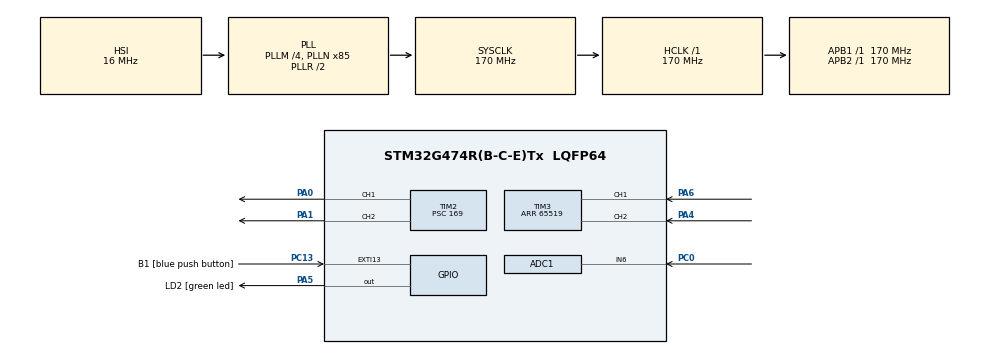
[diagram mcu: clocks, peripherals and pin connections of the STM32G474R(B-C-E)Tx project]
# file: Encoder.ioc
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ADC1.Channel-0\#ChannelRegularConversion=ADC_CHANNEL_6
ADC1.ContinuousConvMode=ENABLE
ADC1.DMAContinuousRequests=ENABLE
ADC1.NbrOfConversionFlag=1
ADC1.OffsetNumber-0\#ChannelRegularConversion=ADC_OFFSET_NONE
ADC1.Rank-0\#ChannelRegularConversion=1
ADC1.SamplingTime-0\#ChannelRegularConversion=ADC_SAMPLETIME_2CYCLES_5
ADC1.master=1
Dma.ADC1.0.Direction=DMA_PERIPH_TO_MEMORY
Dma.ADC1.0.EventEnable=DISABLE
Dma.ADC1.0.Instance=DMA1_Channel1
Dma.ADC1.0.MemDataAlignment=DMA_MDATAALIGN_WORD
Dma.ADC1.0.MemInc=DMA_MINC_ENABLE
Dma.ADC1.0.Mode=DMA_CIRCULAR
Dma.ADC1.0.PeriphDataAlignment=DMA_PDATAALIGN_WORD
Dma.ADC1.0.PeriphInc=DMA_PINC_DISABLE
Dma.ADC1.0.Polarity=HAL_DMAMUX_REQ_GEN_RISING
Dma.ADC1.0.Priority=DMA_PRIORITY_LOW
Dma.ADC1.0.RequestNumber=1
Dma.ADC1.0.SignalID=NONE
Dma.ADC1.0.SyncEnable=DISABLE
Dma.ADC1.0.SyncPolarity=HAL_DMAMUX_SYNC_NO_EVENT
Dma.ADC1.0.SyncRequestNumber=1
Dma.ADC1.0.SyncSignalID=NONE
Dma.Request0=ADC1
Mcu.Family=STM32G4
Mcu.Name=STM32G474R(B-C-E)Tx
Mcu.Package=LQFP64
NVIC.ADC1_2_IRQn=true\:0\:0\:false\:false\:true\:true\:true\:true
NVIC.DMA1_Channel1_IRQn=true\:0\:0\:false\:false\:true\:false\:true\:true
NVIC.EXTI15_10_IRQn=true\:0\:0\:false\:false\:true\:true\:true\:true
NVIC.PriorityGroup=NVIC_PRIORITYGROUP_4
NVIC.TIM6_DAC_IRQn=true\:0\:0\:false\:false\:true\:true\:true\:true
PA0.Signal=S_TIM2_CH1
PA1.Signal=S_TIM2_CH2
PA13.GPIO_Label=T_SWDIO
PA13.Signal=SYS_JTMS-SWDIO
PA14.GPIO_Label=T_SWCLK
PA14.Signal=SYS_JTCK-SWCLK
PA2.GPIO_Label=LPUART1_TX [STLINKV3E_VCP_RX]
PA2.Signal=LPUART1_TX
PA3.GPIO_Label=LPUART1_RX [STLINKV3E_VCP_TX]
PA3.Signal=LPUART1_RX
PA4.Signal=S_TIM3_CH2
PA5.GPIO_Label=LD2 [green led]
PA5.Signal=GPIO_Output
PA6.Signal=S_TIM3_CH1
PB3.GPIO_Label=T_SWO
PB3.Signal=SYS_JTDO-SWO
PC0.Mode=IN6-Single-Ended
PC0.Signal=ADC1_IN6
PC13.GPIO_Label=B1 [blue push button]
PC13.Signal=GPXTI13
PC14-OSC32_IN.GPIO_Label=RCC_OSC32_IN
PC14-OSC32_IN.Signal=RCC_OSC32_IN
PC15-OSC32_OUT.GPIO_Label=RCC_OSC32_OUT
PC15-OSC32_OUT.Signal=RCC_OSC32_OUT
PF0-OSC_IN.GPIO_Label=RCC_OSC_IN
PF0-OSC_IN.Signal=RCC_OSC_IN
PF1-OSC_OUT.GPIO_Label=RCC_OSC_OUT
PF1-OSC_OUT.Signal=RCC_OSC_OUT
ProjectManager.HeapSize=0x200
ProjectManager.StackSize=0x400
ProjectManager.TargetToolchain=STM32CubeIDE
RCC.ADC12Freq_Value=170000000
RCC.ADC345Freq_Value=170000000
RCC.AHBFreq_Value=170000000
RCC.APB1Freq_Value=170000000
RCC.APB1TimFreq_Value=170000000
RCC.APB2Freq_Value=170000000
RCC.APB2TimFreq_Value=170000000
RCC.CortexFreq_Value=170000000
RCC.EXTERNAL_CLOCK_VALUE=12288000
RCC.HCLKFreq_Value=170000000
RCC.HSE_VALUE=24000000
RCC.HSI48_VALUE=48000000
RCC.HSI_VALUE=16000000
RCC.LSE_VALUE=32768
RCC.PLLM=RCC_PLLM_DIV4
RCC.PLLN=85
RCC.RTCClockSelection=RCC_RTCCLKSOURCE_LSE
RCC.SYSCLKFreq_VALUE=170000000
RCC.SYSCLKSource=RCC_SYSCLKSOURCE_PLLCLK
RCC.USBFreq_Value=170000000
RCC.VCOOutputFreq_Value=340000000
SH.S_TIM2_CH1.0=TIM2_CH1,PWM Generation1 CH1
SH.S_TIM2_CH2.0=TIM2_CH2,PWM Generation2 CH2
SH.S_TIM3_CH1.0=TIM3_CH1,Encoder_Interface
SH.S_TIM3_CH2.0=TIM3_CH2,Encoder_Interface
TIM2.Channel-PWM\ Generation1\ CH1=TIM_CHANNEL_1
TIM2.Channel-PWM\ Generation2\ CH2=TIM_CHANNEL_2
TIM2.PeriodNoDither=199
TIM2.Prescaler=169
TIM3.EncoderMode=TIM_ENCODERMODE_TI12
TIM3.PeriodNoDither=65519
TIM6.PeriodNoDither=199
TIM6.Prescaler=169
VP_SYS_VS_DBSignals.Mode=DisableDeadBatterySignals
VP_TIM2_VS_ClockSourceINT.Mode=Internal
VP_TIM5_VS_ClockSourceINT.Mode=Internal
VP_TIM6_VS_ClockSourceINT.Mode=Enable_Timer
board=NUCLEO-G474RE

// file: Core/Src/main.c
/* USER CODE BEGIN Header */
/**
  ******************************************************************************
  * @file           : main.c
  * @brief          : Main program body
  ******************************************************************************
  * @attention
  *
  * Copyright (c) 2026 STMicroelectronics.
  * All rights reserved.
  *
  * This software is licensed under terms that can be found in the LICENSE file
  * in the root directory of this software component.
  * If no LICENSE file comes with this software, it is provided AS-IS.
  *
  ******************************************************************************
  */
/* USER CODE END Header */
#include "main.h"

/* USER CODE BEGIN PD */
#define ONE_TURN_QEI_CNT 840
#define MULTI_TURN_QEI_CNT 65520
#define OBSEVER_PERIOD 0.0002f  //5khz
#define VELO_PID__PERIOD 0.001f
#define POS_PID_PERIOD 0.002f
/* USER CODE END PD */

ADC_HandleTypeDef hadc1;
DMA_HandleTypeDef hdma_adc1;

TIM_HandleTypeDef htim2;
TIM_HandleTypeDef htim3;
TIM_HandleTypeDef htim5;
TIM_HandleTypeDef htim6;

/* USER CODE BEGIN PV */
uint32_t adc_raw = 0;
uint32_t adc_dma[20] = {0};
uint32_t QEIReadRaw;
float angleDegree;
float angleRadian;
float PI = 3.141592;

enum { NEW, OLD };

typedef struct {
    uint32_t Position[2];
    float QEIPostion_1turn;
    float QEIAngularVelocity;
    float QEIAngularVelocity_MWA;
    float QEIAngularVelocity_RPM;
} QEI_StructureTypeDef;
QEI_StructureTypeDef QEIdata = {0};

typedef struct {
    float Realposition;
    float EstVelocity;
    float EstPosition;
    float Kp, Ki;
    float MaxVelocity;
} VeloObserverTypeDef;
VeloObserverTypeDef VeloObserver = {0};

// ===============================================
volatile uint8_t TASK_MODE = 1; // 1 = Position (Cascade), 2 = Velocity

// Velocity (Inner Loop)
volatile float target_rpm = 0.0f; // ถอด volatile ออกไม่ได้ เพราะ SWV อาจจะอยากแก้
float vel_error_integral = 0.0f;
float prev_vel_error = 0.0f;
volatile float Kp_v = 1.5f;
volatile float Ki_v = 10.0f;
volatile float Kd_v = 0.0f;

// Position (Outer Loop)
volatile float target_position_deg = 0.0f;
float current_position_deg = 0.0f;
float pos_error_integral = 0.0f;
float prev_pos_error = 0.0f;
volatile float Kp_p = 3.0f;
volatile float Ki_p = 0.0f;  // Cascade มักใช้แค่ P คุมตำแหน่ง
volatile float Kd_p = 0.0f;

int32_t pwm_out = 0;
uint16_t timer_tick = 0;

/* USER CODE END PV */

void SystemClock_Config(void);
static void MX_GPIO_Init(void);
static void MX_DMA_Init(void);
static void MX_TIM3_Init(void);
static void MX_TIM6_Init(void);
static void MX_TIM5_Init(void);
static void MX_TIM2_Init(void);
static void MX_ADC1_Init(void);
/* USER CODE BEGIN PFP */
uint32_t micros();
void VeloObsever_Init(void);
void VeloObserver_Update(void);
/* USER CODE END PFP */

int main(void)
{

  /* MCU Configuration--------------------------------------------------------*/

  /* Reset of all peripherals, Initializes the Flash interface and the Systick. */
  HAL_Init();

  /* Configure the system clock */
  SystemClock_Config();

  /* Initialize all configured peripherals */
  MX_GPIO_Init();
  MX_DMA_Init();
  MX_TIM3_Init();
  MX_TIM6_Init();
  MX_TIM5_Init();
  MX_TIM2_Init();
  MX_ADC1_Init();
  /* USER CODE BEGIN 2 */
  HAL_TIM_Encoder_Start(&htim3, TIM_CHANNEL_ALL);
  HAL_TIM_Base_Start_IT(&htim5);
  HAL_TIM_Base_Start_IT(&htim6);
  HAL_ADC_Start_DMA(&hadc1, adc_dma, 20);
  VeloObsever_Init();
  HAL_TIM_PWM_Start(&htim2, TIM_CHANNEL_1);
  HAL_TIM_PWM_Start(&htim2, TIM_CHANNEL_2);

  /* USER CODE END 2 */

  /* Infinite loop */
  while (1)
  {

    /* USER CODE BEGIN 3 */
	  QEIReadRaw = __HAL_TIM_GET_COUNTER(&htim3);
	  	        angleDegree = (QEIReadRaw / 840.0f) * 360.0f ;
	  	        angleRadian = (QEIReadRaw / 840.0f) * (2.0f * PI);

	  	        if (HAL_GPIO_ReadPin(B1_GPIO_Port, B1_Pin) == GPIO_PIN_SET)
	  	        {

	                  uint32_t adc_sum = 0;
	                  for (int i = 0; i < 20; i++) {
	                      adc_sum += adc_dma[i];
	                  }
	                  float adc_avg = (float)adc_sum / 20.0f;

	  	            static float filtered_adc = 0.0f;
	  	            const float alpha = 0.05f;
	  	            filtered_adc = (1.0f - alpha) * filtered_adc + (alpha * adc_avg);

	  	            if (TASK_MODE == 1) {
	  	                target_position_deg = (filtered_adc / 4095.0f) * 360.0f;
	  	            }
	  	            else if (TASK_MODE == 2) {
	  	                target_rpm = (filtered_adc / 4095.0f) * 120.0f;
	  	            }
	  	        }

	  	        HAL_Delay(10);
	  	    }
  /* USER CODE END 3 */
}

void SystemClock_Config(void)
{
  RCC_OscInitTypeDef RCC_OscInitStruct = {0};
  RCC_ClkInitTypeDef RCC_ClkInitStruct = {0};

  /** Configure the main internal regulator output voltage
  */
  HAL_PWREx_ControlVoltageScaling(PWR_REGULATOR_VOLTAGE_SCALE1_BOOST);

  /** Initializes the RCC Oscillators according to the specified parameters
  * in the RCC_OscInitTypeDef structure.
  */
  RCC_OscInitStruct.OscillatorType = RCC_OSCILLATORTYPE_HSI;
  RCC_OscInitStruct.HSIState = RCC_HSI_ON;
  RCC_OscInitStruct.HSICalibrationValue = RCC_HSICALIBRATION_DEFAULT;
  RCC_OscInitStruct.PLL.PLLState = RCC_PLL_ON;
  RCC_OscInitStruct.PLL.PLLSource = RCC_PLLSOURCE_HSI;
  RCC_OscInitStruct.PLL.PLLM = RCC_PLLM_DIV4;
  RCC_OscInitStruct.PLL.PLLN = 85;
  RCC_OscInitStruct.PLL.PLLP = RCC_PLLP_DIV2;
  RCC_OscInitStruct.PLL.PLLQ = RCC_PLLQ_DIV2;
  RCC_OscInitStruct.PLL.PLLR = RCC_PLLR_DIV2;
  if (HAL_RCC_OscConfig(&RCC_OscInitStruct) != HAL_OK)
  {
    Error_Handler();
  }

  /** Initializes the CPU, AHB and APB buses clocks
  */
  RCC_ClkInitStruct.ClockType = RCC_CLOCKTYPE_HCLK|RCC_CLOCKTYPE_SYSCLK
                              |RCC_CLOCKTYPE_PCLK1|RCC_CLOCKTYPE_PCLK2;
  RCC_ClkInitStruct.SYSCLKSource = RCC_SYSCLKSOURCE_PLLCLK;
  RCC_ClkInitStruct.AHBCLKDivider = RCC_SYSCLK_DIV1;
  RCC_ClkInitStruct.APB1CLKDivider = RCC_HCLK_DIV1;
  RCC_ClkInitStruct.APB2CLKDivider = RCC_HCLK_DIV1;

  if (HAL_RCC_ClockConfig(&RCC_ClkInitStruct, FLASH_LATENCY_4) != HAL_OK)
  {
    Error_Handler();
  }
}

static void MX_ADC1_Init(void)
{

  ADC_MultiModeTypeDef multimode = {0};
  ADC_ChannelConfTypeDef sConfig = {0};

  /** Common config
  */
  hadc1.Instance = ADC1;
  hadc1.Init.ClockPrescaler = ADC_CLOCK_SYNC_PCLK_DIV4;
  hadc1.Init.Resolution = ADC_RESOLUTION_12B;
  hadc1.Init.DataAlign = ADC_DATAALIGN_RIGHT;
  hadc1.Init.GainCompensation = 0;
  hadc1.Init.ScanConvMode = ADC_SCAN_DISABLE;
  hadc1.Init.EOCSelection = ADC_EOC_SINGLE_CONV;
  hadc1.Init.LowPowerAutoWait = DISABLE;
  hadc1.Init.ContinuousConvMode = ENABLE;
  hadc1.Init.NbrOfConversion = 1;
  hadc1.Init.DiscontinuousConvMode = DISABLE;
  hadc1.Init.ExternalTrigConv = ADC_SOFTWARE_START;
  hadc1.Init.ExternalTrigConvEdge = ADC_EXTERNALTRIGCONVEDGE_NONE;
  hadc1.Init.DMAContinuousRequests = ENABLE;
  hadc1.Init.Overrun = ADC_OVR_DATA_PRESERVED;
  hadc1.Init.OversamplingMode = DISABLE;
  if (HAL_ADC_Init(&hadc1) != HAL_OK)
  {
    Error_Handler();
  }

  /** Configure the ADC multi-mode
  */
  multimode.Mode = ADC_MODE_INDEPENDENT;
  if (HAL_ADCEx_MultiModeConfigChannel(&hadc1, &multimode) != HAL_OK)
  {
    Error_Handler();
  }

  /** Configure Regular Channel
  */
  sConfig.Channel = ADC_CHANNEL_6;
  sConfig.Rank = ADC_REGULAR_RANK_1;
  sConfig.SamplingTime = ADC_SAMPLETIME_2CYCLES_5;
  sConfig.SingleDiff = ADC_SINGLE_ENDED;
  sConfig.OffsetNumber = ADC_OFFSET_NONE;
  sConfig.Offset = 0;
  if (HAL_ADC_ConfigChannel(&hadc1, &sConfig) != HAL_OK)
  {
    Error_Handler();
  }

}

static void MX_TIM2_Init(void)
{

  TIM_ClockConfigTypeDef sClockSourceConfig = {0};
  TIM_MasterConfigTypeDef sMasterConfig = {0};
  TIM_OC_InitTypeDef sConfigOC = {0};

  htim2.Instance = TIM2;
  htim2.Init.Prescaler = 169;
  htim2.Init.CounterMode = TIM_COUNTERMODE_UP;
  htim2.Init.Period = 199;
  htim2.Init.ClockDivision = TIM_CLOCKDIVISION_DIV1;
  htim2.Init.AutoReloadPreload = TIM_AUTORELOAD_PRELOAD_DISABLE;
  if (HAL_TIM_Base_Init(&htim2) != HAL_OK)
  {
    Error_Handler();
  }
  sClockSourceConfig.ClockSource = TIM_CLOCKSOURCE_INTERNAL;
  if (HAL_TIM_ConfigClockSource(&htim2, &sClockSourceConfig) != HAL_OK)
  {
    Error_Handler();
  }
  if (HAL_TIM_PWM_Init(&htim2) != HAL_OK)
  {
    Error_Handler();
  }
  sMasterConfig.MasterOutputTrigger = TIM_TRGO_RESET;
  sMasterConfig.MasterSlaveMode = TIM_MASTERSLAVEMODE_DISABLE;
  if (HAL_TIMEx_MasterConfigSynchronization(&htim2, &sMasterConfig) != HAL_OK)
  {
    Error_Handler();
  }
  sConfigOC.OCMode = TIM_OCMODE_PWM1;
  sConfigOC.Pulse = 0;
  sConfigOC.OCPolarity = TIM_OCPOLARITY_HIGH;
  sConfigOC.OCFastMode = TIM_OCFAST_DISABLE;
  if (HAL_TIM_PWM_ConfigChannel(&htim2, &sConfigOC, TIM_CHANNEL_1) != HAL_OK)
  {
    Error_Handler();
  }
  if (HAL_TIM_PWM_ConfigChannel(&htim2, &sConfigOC, TIM_CHANNEL_2) != HAL_OK)
  {
    Error_Handler();
  }
  HAL_TIM_MspPostInit(&htim2);

}

static void MX_TIM3_Init(void)
{

  TIM_Encoder_InitTypeDef sConfig = {0};
  TIM_MasterConfigTypeDef sMasterConfig = {0};

  htim3.Instance = TIM3;
  htim3.Init.Prescaler = 0;
  htim3.Init.CounterMode = TIM_COUNTERMODE_UP;
  htim3.Init.Period = 65519;
  htim3.Init.ClockDivision = TIM_CLOCKDIVISION_DIV1;
  htim3.Init.AutoReloadPreload = TIM_AUTORELOAD_PRELOAD_DISABLE;
  sConfig.EncoderMode = TIM_ENCODERMODE_TI12;
  sConfig.IC1Polarity = TIM_ICPOLARITY_RISING;
  sConfig.IC1Selection = TIM_ICSELECTION_DIRECTTI;
  sConfig.IC1Prescaler = TIM_ICPSC_DIV1;
  sConfig.IC1Filter = 0;
  sConfig.IC2Polarity = TIM_ICPOLARITY_RISING;
  sConfig.IC2Selection = TIM_ICSELECTION_DIRECTTI;
  sConfig.IC2Prescaler = TIM_ICPSC_DIV1;
  sConfig.IC2Filter = 0;
  if (HAL_TIM_Encoder_Init(&htim3, &sConfig) != HAL_OK)
  {
    Error_Handler();
  }
  sMasterConfig.MasterOutputTrigger = TIM_TRGO_RESET;
  sMasterConfig.MasterSlaveMode = TIM_MASTERSLAVEMODE_DISABLE;
  if (HAL_TIMEx_MasterConfigSynchronization(&htim3, &sMasterConfig) != HAL_OK)
  {
    Error_Handler();
  }

}

static void MX_TIM5_Init(void)
{

  TIM_ClockConfigTypeDef sClockSourceConfig = {0};
  TIM_MasterConfigTypeDef sMasterConfig = {0};

  htim5.Instance = TIM5;
  htim5.Init.Prescaler = 0;
  htim5.Init.CounterMode = TIM_COUNTERMODE_UP;
  htim5.Init.Period = 4294967295;
  htim5.Init.ClockDivision = TIM_CLOCKDIVISION_DIV1;
  htim5.Init.AutoReloadPreload = TIM_AUTORELOAD_PRELOAD_DISABLE;
  if (HAL_TIM_Base_Init(&htim5) != HAL_OK)
  {
    Error_Handler();
  }
  sClockSourceConfig.ClockSource = TIM_CLOCKSOURCE_INTERNAL;
  if (HAL_TIM_ConfigClockSource(&htim5, &sClockSourceConfig) != HAL_OK)
  {
    Error_Handler();
  }
  sMasterConfig.MasterOutputTrigger = TIM_TRGO_RESET;
  sMasterConfig.MasterSlaveMode = TIM_MASTERSLAVEMODE_DISABLE;
  if (HAL_TIMEx_MasterConfigSynchronization(&htim5, &sMasterConfig) != HAL_OK)
  {
    Error_Handler();
  }

}

static void MX_TIM6_Init(void)
{

  TIM_MasterConfigTypeDef sMasterConfig = {0};

  htim6.Instance = TIM6;
  htim6.Init.Prescaler = 169;
  htim6.Init.CounterMode = TIM_COUNTERMODE_UP;
  htim6.Init.Period = 199;
  htim6.Init.AutoReloadPreload = TIM_AUTORELOAD_PRELOAD_DISABLE;
  if (HAL_TIM_Base_Init(&htim6) != HAL_OK)
  {
    Error_Handler();
  }
  sMasterConfig.MasterOutputTrigger = TIM_TRGO_RESET;
  sMasterConfig.MasterSlaveMode = TIM_MASTERSLAVEMODE_DISABLE;
  if (HAL_TIMEx_MasterConfigSynchronization(&htim6, &sMasterConfig) != HAL_OK)
  {
    Error_Handler();
  }

}

static void MX_DMA_Init(void)
{

  /* DMA controller clock enable */
  __HAL_RCC_DMAMUX1_CLK_ENABLE();
  __HAL_RCC_DMA1_CLK_ENABLE();

  /* DMA interrupt init */
  /* DMA1_Channel1_IRQn interrupt configuration */
  HAL_NVIC_SetPriority(DMA1_Channel1_IRQn, 0, 0);
  HAL_NVIC_EnableIRQ(DMA1_Channel1_IRQn);

}

static void MX_GPIO_Init(void)
{
  GPIO_InitTypeDef GPIO_InitStruct = {0};

  /* GPIO Ports Clock Enable */
  __HAL_RCC_GPIOC_CLK_ENABLE();
  __HAL_RCC_GPIOF_CLK_ENABLE();
  __HAL_RCC_GPIOA_CLK_ENABLE();
  __HAL_RCC_GPIOB_CLK_ENABLE();

  /*Configure GPIO pin Output Level */
  HAL_GPIO_WritePin(LD2_GPIO_Port, LD2_Pin, GPIO_PIN_RESET);

  /*Configure GPIO pin : B1_Pin */
  GPIO_InitStruct.Pin = B1_Pin;
  GPIO_InitStruct.Mode = GPIO_MODE_IT_RISING;
  GPIO_InitStruct.Pull = GPIO_NOPULL;
  HAL_GPIO_Init(B1_GPIO_Port, &GPIO_InitStruct);

  /*Configure GPIO pins : LPUART1_TX_Pin LPUART1_RX_Pin */
  GPIO_InitStruct.Pin = LPUART1_TX_Pin|LPUART1_RX_Pin;
  GPIO_InitStruct.Mode = GPIO_MODE_AF_PP;
  GPIO_InitStruct.Pull = GPIO_NOPULL;
  GPIO_InitStruct.Speed = GPIO_SPEED_FREQ_LOW;
  GPIO_InitStruct.Alternate = GPIO_AF12_LPUART1;
  HAL_GPIO_Init(GPIOA, &GPIO_InitStruct);

  /*Configure GPIO pin : LD2_Pin */
  GPIO_InitStruct.Pin = LD2_Pin;
  GPIO_InitStruct.Mode = GPIO_MODE_OUTPUT_PP;
  GPIO_InitStruct.Pull = GPIO_NOPULL;
  GPIO_InitStruct.Speed = GPIO_SPEED_FREQ_LOW;
  HAL_GPIO_Init(LD2_GPIO_Port, &GPIO_InitStruct);

  /* EXTI interrupt init*/
  HAL_NVIC_SetPriority(EXTI15_10_IRQn, 0, 0);
  HAL_NVIC_EnableIRQ(EXTI15_10_IRQn);

}

/* USER CODE BEGIN 4 */
uint32_t micros()
{
    return __HAL_TIM_GET_COUNTER(&htim5);
}

void QEIEncoderPosVel_Update(void) {
    QEIdata.Position[NEW] = __HAL_TIM_GET_COUNTER(&htim3);
    QEIdata.QEIPostion_1turn = QEIdata.Position[NEW] % ONE_TURN_QEI_CNT;

    int32_t diffPosition = QEIdata.Position[NEW] - QEIdata.Position[OLD];

    if (diffPosition > (MULTI_TURN_QEI_CNT / 2)) {
        diffPosition -= MULTI_TURN_QEI_CNT;
    } else if (diffPosition < -(MULTI_TURN_QEI_CNT / 2)) {
        diffPosition += MULTI_TURN_QEI_CNT;
    }

    QEIdata.QEIAngularVelocity = (float)diffPosition / OBSEVER_PERIOD;
    QEIdata.QEIAngularVelocity_MWA = (QEIdata.QEIAngularVelocity + QEIdata.QEIAngularVelocity_MWA * 99.0f) / 100.0f;
    QEIdata.Position[OLD] = QEIdata.Position[NEW];

    QEIdata.QEIAngularVelocity_RPM = (VeloObserver.EstVelocity / 840.0f) * 60.0f;
}

void HAL_TIM_PeriodElapsedCallback(TIM_HandleTypeDef *htim) {
    if (htim->Instance == TIM6) {

        timer_tick++;

        // ==========================================
        //  Observer Update
        // ==========================================
        QEIEncoderPosVel_Update();
        VeloObserver.Realposition = QEIdata.Position[NEW];
        VeloObserver_Update();

        // ==========================================
        // Outer Loop: Position PID (500 Hz)
        // ==========================================
        if (TASK_MODE == 1 && (timer_tick % 10 == 0)) {
            current_position_deg = ((float)QEIdata.QEIPostion_1turn / 840.0f) * 360.0f;

            float error_p = target_position_deg - current_position_deg;

            // Shortest Path
            if (error_p > 180.0f) error_p -= 360.0f;
            if (error_p < -180.0f) error_p += 360.0f;

            // Deadband
            if (error_p > -1.0f && error_p < 1.0f) {
                error_p = 0.0f;
                pos_error_integral = 0.0f;
            }

            pos_error_integral += error_p * POS_PID_PERIOD;
            float derivative_p = (error_p - prev_pos_error) / POS_PID_PERIOD;

            target_rpm = (Kp_p * error_p) + (Ki_p * pos_error_integral) + (Kd_p * derivative_p);

            if (target_rpm > 120.0f) target_rpm = 120.0f;
            if (target_rpm < -120.0f) target_rpm = -120.0f;

            prev_pos_error = error_p;
        }

        // ==========================================
        // Inner Loop: Velocity PID (1 kHz)
        // ==========================================
        if (timer_tick % 5 == 0) {
            float current_rpm = QEIdata.QEIAngularVelocity_RPM;

            // ถ้า TASK_MODE = 2 ค่า target_rpm จะมาจากเกือกม้าโดยตรง
            // ถ้า TASK_MODE = 1 ค่า target_rpm จะมาจาก Outer Loop ที่คำนวณไว้ด้านบน
            float error_v = target_rpm - current_rpm;

            vel_error_integral += error_v * VELO_PID__PERIOD;
            float derivative_v = (error_v - prev_vel_error) / VELO_PID__PERIOD;

            // PWM to Motor
            pwm_out = (int32_t)(Kp_v * error_v + Ki_v * vel_error_integral + Kd_v * derivative_v);

            // Saturation
            if (pwm_out > 199) pwm_out = 199;
            if (pwm_out < -199) pwm_out = -199;

            prev_vel_error = error_v;
        }

        // ==========================================
        // PWM Output
        // ==========================================
        if (pwm_out > 0) {
            __HAL_TIM_SET_COMPARE(&htim2, TIM_CHANNEL_1, (uint32_t)pwm_out);
            __HAL_TIM_SET_COMPARE(&htim2, TIM_CHANNEL_2, 0);
        } else {
            __HAL_TIM_SET_COMPARE(&htim2, TIM_CHANNEL_1, 0);
            __HAL_TIM_SET_COMPARE(&htim2, TIM_CHANNEL_2, (uint32_t)(-pwm_out));
        }

        // Reset (10 รอบ = 500Hz)
        if (timer_tick >= 10) {
            timer_tick = 0;
        }
    }
}

void VeloObserver_Update(void)
{
    float errorPosition = VeloObserver.Realposition - VeloObserver.EstPosition;

    while (errorPosition > MULTI_TURN_QEI_CNT / 2.0f) errorPosition -= MULTI_TURN_QEI_CNT;
    while (errorPosition < -MULTI_TURN_QEI_CNT / 2.0f) errorPosition += MULTI_TURN_QEI_CNT;

    VeloObserver.EstVelocity += (VeloObserver.Ki * errorPosition) * OBSEVER_PERIOD;

    if (VeloObserver.EstVelocity > VeloObserver.MaxVelocity) VeloObserver.EstVelocity = VeloObserver.MaxVelocity;
    else if (VeloObserver.EstVelocity < -VeloObserver.MaxVelocity) VeloObserver.EstVelocity = -VeloObserver.MaxVelocity;

    float instantaneous_velocity = VeloObserver.EstVelocity + (VeloObserver.Kp * errorPosition);
    VeloObserver.EstPosition += instantaneous_velocity * OBSEVER_PERIOD;

    while (VeloObserver.EstPosition >= MULTI_TURN_QEI_CNT) VeloObserver.EstPosition -= MULTI_TURN_QEI_CNT;
    while (VeloObserver.EstPosition < 0.0f) VeloObserver.EstPosition += MULTI_TURN_QEI_CNT;
}

void VeloObsever_Init(void)
{
    VeloObserver.Kp = 200.0f;
    VeloObserver.Ki = 8000.0f;
    VeloObserver.MaxVelocity = 10000.0f;
}
/* USER CODE END 4 */

void Error_Handler(void)
{
  __disable_irq();
  while (1)
  {
  }
}
